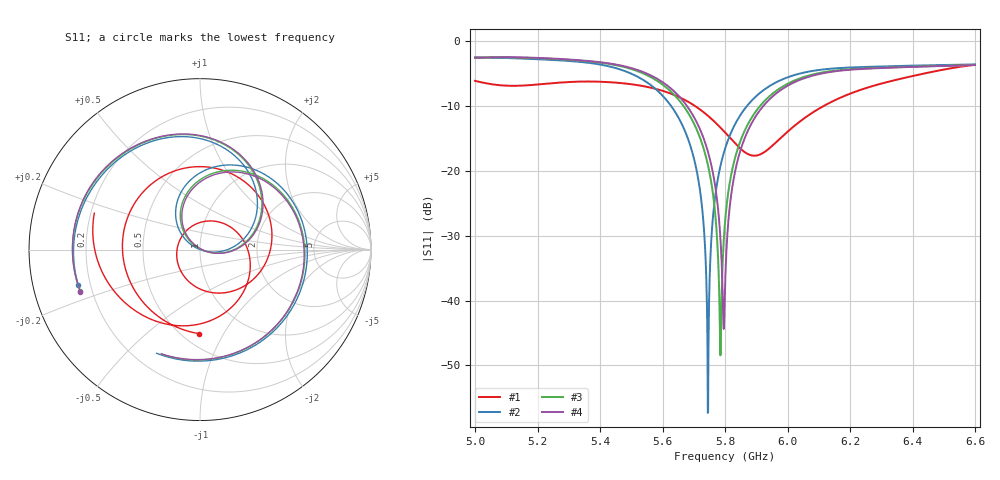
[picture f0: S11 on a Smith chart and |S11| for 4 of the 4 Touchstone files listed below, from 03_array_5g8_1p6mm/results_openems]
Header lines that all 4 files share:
! openEMS
# GHZ S MA R 50
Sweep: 5 GHz to 6.6 GHz
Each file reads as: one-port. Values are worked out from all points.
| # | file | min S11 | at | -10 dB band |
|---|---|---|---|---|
| 1 | S11_array.s1p | -17.7 dB | 5.894 GHz | 414.6 MHz wide |
| 2 | S11_patch_iter1.s1p | -57.3 dB | 5.745 GHz | 244.1 MHz wide |
| 3 | S11_patch_iter2.s1p | -48.4 dB | 5.785 GHz | 246.3 MHz wide |
| 4 | S11_patch_iter3.s1p | -44.4 dB | 5.796 GHz | 245.8 MHz wide |
